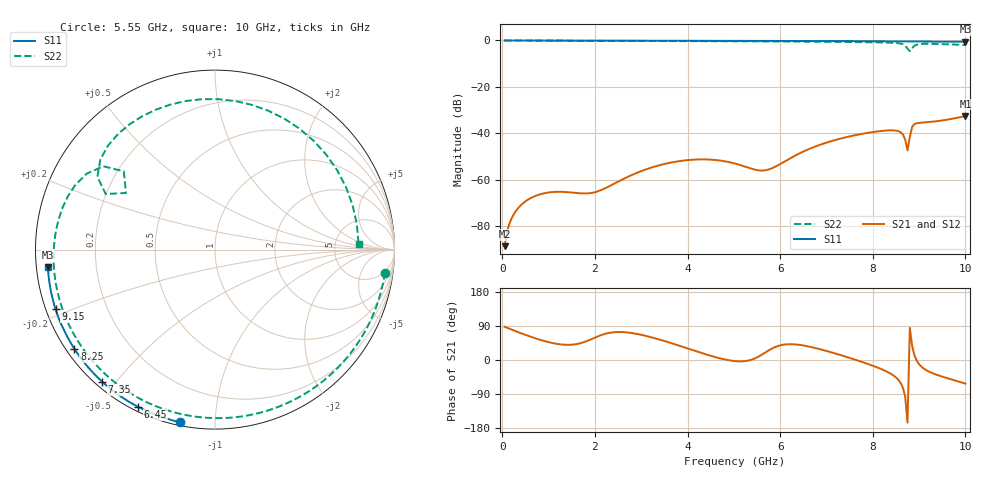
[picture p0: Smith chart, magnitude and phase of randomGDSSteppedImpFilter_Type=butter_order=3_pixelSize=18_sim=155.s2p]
! freq	dB(S11)	phase(S11)	dB(S12)	phase(S12)
!  dB(S21)	phase(S21)	dB(S22)	phase(S22)
!S-par simulation data
#  GHz  S  DB  R 50
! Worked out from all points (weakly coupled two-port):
!   200 points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, 50 MHz to 10 GHz, reference 50 ohm
!   highest |S21| = -32.54 dB at 10 GHz (marker M1); lowest = -88.5 dB at 50 MHz (marker M2)
!   lowest |S11| = -0.6 dB at 10 GHz (marker M3), VSWR 30.35, Z = 1.65 - j2.63 ohm
!   |S11| at or under -10 dB: nowhere
!   |S22| runs from -4.6 to 0.0 dB; largest |S21 - S12| = 0
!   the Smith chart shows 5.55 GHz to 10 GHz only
!   S11 on the Smith chart (normalised r, x): 5.55 GHz: 0.02, -0.82; 6.45 GHz: 0.02, -0.62; 7.35 GHz: 0.02, -0.46; 8.25 GHz: 0.02, -0.32; 9.15 GHz: 0.03, -0.18; 10 GHz: 0.03, -0.05
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0.05  -0.00 -1.0  -88.49 87.6  -88.49 87.6  -0.00 -4.0
0.45  -0.01 -8.9  -69.98 68.5  -69.98 68.5  -0.05 -35.0
0.9  -0.02 -17.7  -65.74 50.3  -65.74 50.3  -0.09 -68.4
1.3  -0.03 -25.5  -65.12 40.7  -65.12 40.7  -0.11 -96.1
1.75  -0.04 -34.2  -65.82 46.6  -65.82 46.6  -0.14 -125.3
2.6  -0.06 -50.2  -59.73 73.7  -59.73 73.7  -0.17 -176.4
3.4  -0.09 -64.7  -53.63 53.8  -53.63 53.8  -0.22 136.1
4.25  -0.11 -79.7  -51.17 20.6  -51.17 20.6  -0.28 81.9
5.05  -0.14 -93.3  -53.09 -3.2  -53.09 -3.2  -0.35 26.9
5.55  -0.17 -101.5  -55.90 10.1  -55.90 10.1  -0.40 -7.7
6.45  -0.22 -116.1  -48.26 39.3  -48.26 39.3  -0.49 -66.2
6.7  -0.24 -120.1  -46.08 33.4  -46.08 33.4  -0.53 -81.3
7.35  -0.28 -130.5  -41.98 11.2  -41.98 11.2  -0.63 -119.6
8.25  -0.37 -144.8  -38.80 -27.4  -38.80 -27.4  -0.90 -175.8
8.35  -0.38 -146.4  -38.67 -33.5  -38.67 -33.5  -0.96 176.9
8.65  -0.41 -151.3  -40.40 -72.9  -40.40 -72.9  -1.61 149.4
8.75  -0.42 -152.9  -47.30 -165.1  -47.30 -165.1  -3.49 139.4
8.85  -0.42 -154.5  -37.16 37.2  -37.16 37.2  -3.31 153.1
9.15  -0.46 -159.5  -35.21 -26.5  -35.21 -26.5  -1.45 118.4
9.55  -0.51 -166.2  -34.25 -45.8  -34.25 -45.8  -1.63 69.0
9.8  -0.55 -170.5  -33.36 -54.8  -33.36 -54.8  -1.81 33.0
10  -0.57 -174.0  -32.54 -62.3  -32.54 -62.3  -1.93 2.4
